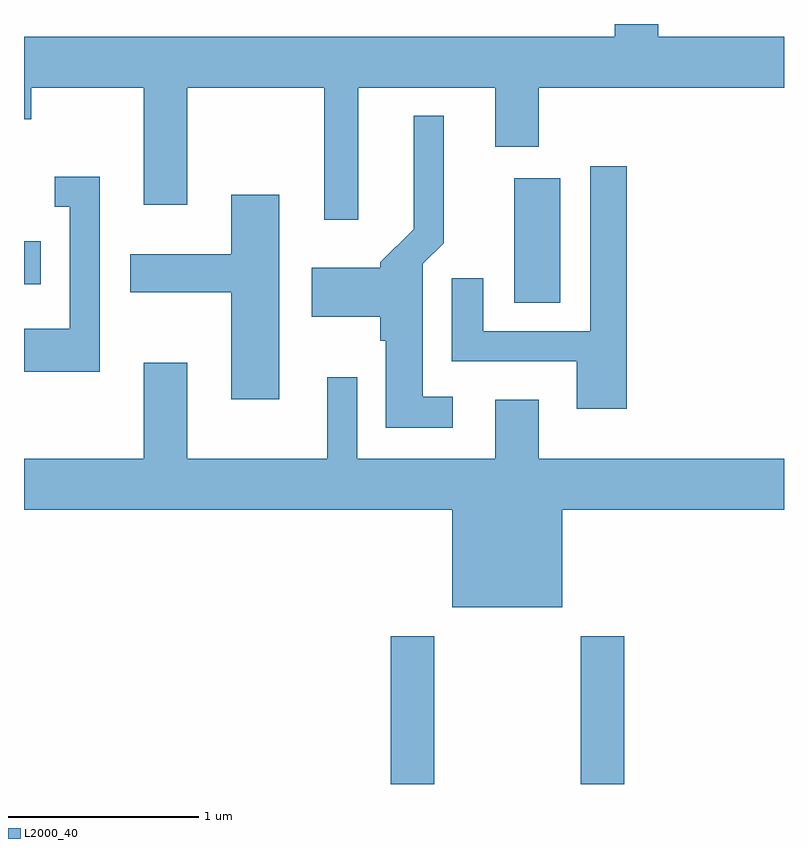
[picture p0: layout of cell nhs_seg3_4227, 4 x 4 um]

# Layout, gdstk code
import gdstk
lib = gdstk.Library(unit=1e-6, precision=1e-09)
def R(c, l, rs):  # rectangles x0, y0, x1, y1
    for r in rs: c.add(gdstk.rectangle(r[:2], r[2:], *l))
def P(c, l, *ps):  # polygons
    for p in ps: c.add(gdstk.Polygon(p, *l))
L2000_40 = (2000, 40)

nhs_seg3_4227 = lib.new_cell('nhs_seg3_4227')
R(nhs_seg3_4227, L2000_40, [(311.541,1137.892,311.769,1138.669), (312.541,1137.892,312.769,1138.669), (312.191,1140.426,312.434,1141.079), (309.611,1140.521,309.699,1140.749)])
P(nhs_seg3_4227, L2000_40, [(311.369,1141.556),(312.091,1141.556),(312.091,1141.246),(312.319,1141.246),(312.319,1141.556),(313.611,1141.556),(313.611,1141.824),(312.949,1141.824),(312.949,1141.892),(312.721,1141.892),(312.721,1141.824),(309.611,1141.824),(309.611,1141.391),(309.649,1141.391),(309.649,1141.556),(310.241,1141.556),(310.241,1140.941),(310.469,1140.941),(310.469,1141.556),(311.191,1141.556),(311.191,1140.861),(311.369,1140.861)],
  [(311.868,1139.929),(311.709,1139.929),(311.709,1140.629),(311.819,1140.739),(311.819,1141.408),(311.661,1141.408),(311.661,1140.812),(311.486,1140.637),(311.486,1140.609),(311.126,1140.609),(311.126,1140.351),(311.486,1140.351),(311.486,1140.226),(311.516,1140.226),(311.516,1139.766),(311.868,1139.766)],
  [(312.784,1141.144),(312.591,1141.144),(312.591,1140.274),(312.029,1140.274),(312.029,1140.553),(311.861,1140.553),(311.861,1140.116),(312.521,1140.116),(312.521,1139.866),(312.784,1139.866)],
  [(310.009,1141.089),(309.773,1141.089),(309.773,1140.931),(309.851,1140.931),(309.851,1140.289),(309.611,1140.289),(309.611,1140.061),(310.009,1140.061)],
  [(310.954,1140.994),(310.701,1140.994),(310.701,1140.679),(310.171,1140.679),(310.171,1140.481),(310.701,1140.481),(310.701,1139.916),(310.954,1139.916)],
  [(312.444,1139.336),(313.611,1139.336),(313.611,1139.604),(312.319,1139.604),(312.319,1139.914),(312.091,1139.914),(312.091,1139.604),(311.364,1139.604),(311.364,1140.033),(311.206,1140.033),(311.206,1139.604),(310.469,1139.604),(310.469,1140.109),(310.241,1140.109),(310.241,1139.604),(309.611,1139.604),(309.611,1139.336),(311.866,1139.336),(311.866,1138.821),(312.444,1138.821)])

lib.write_gds('nhs_seg3_4227.gds')
